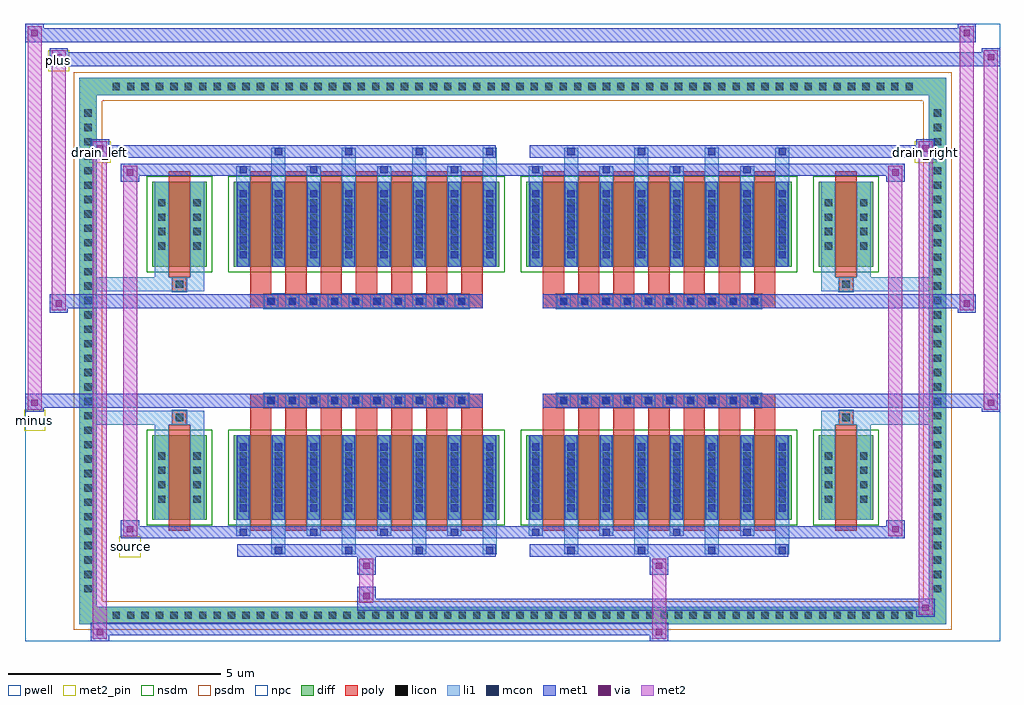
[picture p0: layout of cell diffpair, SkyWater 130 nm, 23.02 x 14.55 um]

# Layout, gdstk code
import gdstk
lib = gdstk.Library(unit=1e-6, precision=5e-09)
def R(c, l, rs):  # rectangles x0, y0, x1, y1
    for r in rs: c.add(gdstk.rectangle(r[:2], r[2:], *l))
def A(c, l, x, y, w, h, nx, ny, dx, dy):  # array of equal rectangles
    R(c, l, [(x+i*dx, y+j*dy, x+i*dx+w, y+j*dy+h) for i in range(nx) for j in range(ny)])
def P(c, l, *ps):  # polygons
    for p in ps: c.add(gdstk.Polygon(p, *l))
pwell = (64, 44)
diff = (65, 20)
poly = (66, 20)
licon = (66, 44)
li1 = (67, 20)
mcon = (67, 44)
met1 = (68, 20)
via = (68, 44)
met2_pin = (69, 16)
met2 = (69, 20)
nsdm = (93, 44)
psdm = (94, 20)
npc = (95, 20)

diffpair = lib.new_cell('diffpair')
R(diffpair, pwell, [(-11.49,-6.84,11.49,7.71), (-8.81,-5.03,-0.01,-0.805), (0.01,-5.03,8.81,-0.805), (-8.81,0.805,-0.01,5.03), (0.01,0.805,8.81,5.03)])
A(diffpair, diff, -9.555, -6.44, 0.41, 0.41, 56, 2, 0.34, 12.47)
A(diffpair, diff, -10.22, -5.815, 0.41, 0.41, 1, 34, 0, 0.34)
A(diffpair, diff, 9.81, -5.815, 0.41, 0.41, 1, 34, 0, 0.34)
R(diffpair, diff, [(-9.555,-6.44,9.555,-6.03), (-10.22,-5.815,-9.81,5.815), (9.81,-5.815,10.22,5.815), (-8.5,-3.985,-7.22,-1.985), (-6.58,-3.985,-0.32,-1.985), (0.32,-3.985,6.58,-1.985), (7.22,-3.985,8.5,-1.985), (-8.5,1.985,-7.22,3.985), (-6.58,1.985,-0.32,3.985), (0.32,1.985,6.58,3.985), (7.22,1.985,8.5,3.985), (-9.555,6.03,9.555,6.44)])
P(diffpair, diff, [(10.22,6.44),(-10.22,6.44),(-10.22,-6.03),(-9.81,-6.03),(-9.81,6.03),(9.81,6.03),(9.81,-6.03),(-9.81,-6.03),(-10.22,-6.03),(-10.22,-6.44),(10.22,-6.44)])
A(diffpair, poly, -6.19, -4.235, 0.5, 2.5, 7, 2, 0.83, 5.97)
A(diffpair, poly, 0.71, -4.235, 0.5, 2.5, 7, 2, 0.83, 5.97)
A(diffpair, poly, -6.19, -1.735, 0.5, 0.4, 7, 2, 0.83, 3.07)
A(diffpair, poly, 0.71, -1.735, 0.5, 0.4, 7, 2, 0.83, 3.07)
A(diffpair, poly, -5.865, -1.335, 0.33, 0.33, 10, 2, 0.5, 2.34)
A(diffpair, poly, 1.035, -1.335, 0.33, 0.33, 10, 2, 0.5, 2.34)
R(diffpair, poly, [(-8.11,-4.235,-7.61,-1.735), (7.61,-4.235,8.11,-1.735), (-8.025,-1.735,-7.695,-1.405), (-8.025,-1.735,-7.695,-1.405), (7.695,-1.735,8.025,-1.405), (7.695,-1.735,8.025,-1.405), (-6.19,-1.335,-0.71,-1.005), (0.71,-1.335,6.19,-1.005), (-6.19,1.005,-0.71,1.335), (0.71,1.005,6.19,1.335), (-8.025,1.405,-7.695,1.735), (-8.025,1.405,-7.695,1.735), (7.695,1.405,8.025,1.735), (7.695,1.405,8.025,1.735), (-8.11,1.735,-7.61,4.235), (7.61,1.735,8.11,4.235)])
A(diffpair, licon, -9.435, -6.32, 0.17, 0.17, 56, 2, 0.34, 12.47)
A(diffpair, licon, -10.1, -5.695, 0.17, 0.17, 1, 34, 0, 0.34)
A(diffpair, licon, 9.93, -5.695, 0.17, 0.17, 1, 34, 0, 0.34)
A(diffpair, licon, -8.36, -3.58, 0.17, 0.17, 1, 4, 0, 0.34)
A(diffpair, licon, -7.53, -3.58, 0.17, 0.17, 1, 4, 0, 0.34)
A(diffpair, licon, -6.44, -3.58, 0.17, 0.17, 8, 4, 0.83, 0.34)
A(diffpair, licon, 0.46, -3.58, 0.17, 0.17, 8, 4, 0.83, 0.34)
A(diffpair, licon, 7.36, -3.58, 0.17, 0.17, 1, 4, 0, 0.34)
A(diffpair, licon, 8.19, -3.58, 0.17, 0.17, 1, 4, 0, 0.34)
A(diffpair, licon, -5.785, -1.255, 0.17, 0.17, 10, 2, 0.5, 2.34)
A(diffpair, licon, 1.115, -1.255, 0.17, 0.17, 10, 2, 0.5, 2.34)
A(diffpair, licon, -8.36, 2.39, 0.17, 0.17, 1, 4, 0, 0.34)
A(diffpair, licon, -7.53, 2.39, 0.17, 0.17, 1, 4, 0, 0.34)
A(diffpair, licon, -6.44, 2.39, 0.17, 0.17, 8, 4, 0.83, 0.34)
A(diffpair, licon, 0.46, 2.39, 0.17, 0.17, 8, 4, 0.83, 0.34)
A(diffpair, licon, 7.36, 2.39, 0.17, 0.17, 1, 4, 0, 0.34)
A(diffpair, licon, 8.19, 2.39, 0.17, 0.17, 1, 4, 0, 0.34)
R(diffpair, licon, [(-7.945,-1.655,-7.775,-1.485), (7.775,-1.655,7.945,-1.485), (-7.945,1.485,-7.775,1.655), (7.775,1.485,7.945,1.655)])
A(diffpair, li1, -9.515, -6.4, 0.33, 0.33, 56, 2, 0.34, 12.47)
A(diffpair, li1, -10.18, -5.775, 0.33, 0.33, 1, 34, 0, 0.34)
A(diffpair, li1, 9.85, -5.775, 0.33, 0.33, 1, 34, 0, 0.34)
A(diffpair, li1, -5.69, -4.79, 0.33, 0.805, 4, 2, 1.66, 8.775)
A(diffpair, li1, -5.61, -4.79, 0.17, 0.17, 4, 2, 1.66, 9.41)
A(diffpair, li1, 1.21, -4.79, 0.33, 0.805, 4, 2, 1.66, 8.775)
A(diffpair, li1, 1.29, -4.79, 0.17, 0.17, 4, 2, 1.66, 9.41)
A(diffpair, li1, -6.52, -4.36, 0.33, 0.375, 4, 2, 1.66, 8.345)
A(diffpair, li1, -6.44, -4.36, 0.17, 0.17, 4, 2, 1.66, 8.55)
A(diffpair, li1, 0.38, -4.36, 0.33, 0.375, 4, 2, 1.66, 8.345)
A(diffpair, li1, 0.46, -4.36, 0.17, 0.17, 4, 2, 1.66, 8.55)
A(diffpair, li1, -6.52, -3.985, 0.33, 2, 8, 2, 0.83, 5.97)
A(diffpair, li1, 0.38, -3.985, 0.33, 2, 8, 2, 0.83, 5.97)
A(diffpair, li1, -6.44, -3.79, 0.17, 0.17, 8, 5, 0.83, 0.36)
A(diffpair, li1, -6.44, -3.79, 0.17, 1.61, 8, 2, 0.83, 5.97)
A(diffpair, li1, 0.46, -3.79, 0.17, 0.17, 8, 5, 0.83, 0.36)
A(diffpair, li1, 0.46, -3.79, 0.17, 1.61, 8, 2, 0.83, 5.97)
A(diffpair, li1, -8.44, -3.66, 0.33, 0.33, 1, 4, 0, 0.34)
A(diffpair, li1, -7.61, -3.66, 0.33, 0.33, 1, 4, 0, 0.34)
A(diffpair, li1, -6.52, -3.66, 0.33, 0.33, 8, 4, 0.83, 0.34)
A(diffpair, li1, 0.38, -3.66, 0.33, 0.33, 8, 4, 0.83, 0.34)
A(diffpair, li1, 7.28, -3.66, 0.33, 0.33, 1, 4, 0, 0.34)
A(diffpair, li1, 8.11, -3.66, 0.33, 0.33, 1, 4, 0, 0.34)
A(diffpair, li1, -5.865, -1.335, 0.33, 0.33, 10, 2, 0.5, 2.34)
A(diffpair, li1, 1.035, -1.335, 0.33, 0.33, 10, 2, 0.5, 2.34)
A(diffpair, li1, -6.44, 2.18, 0.17, 0.17, 8, 5, 0.83, 0.36)
A(diffpair, li1, 0.46, 2.18, 0.17, 0.17, 8, 5, 0.83, 0.36)
A(diffpair, li1, -8.44, 2.31, 0.33, 0.33, 1, 4, 0, 0.34)
A(diffpair, li1, -7.61, 2.31, 0.33, 0.33, 1, 4, 0, 0.34)
A(diffpair, li1, -6.52, 2.31, 0.33, 0.33, 8, 4, 0.83, 0.34)
A(diffpair, li1, 0.38, 2.31, 0.33, 0.33, 8, 4, 0.83, 0.34)
A(diffpair, li1, 7.28, 2.31, 0.33, 0.33, 1, 4, 0, 0.34)
A(diffpair, li1, 8.11, 2.31, 0.33, 0.33, 1, 4, 0, 0.34)
R(diffpair, li1, [(-10.22,-6.44,-9.81,-6.03), (-10.22,-6.44,-9.81,-6.03), (-9.81,-6.44,9.81,-6.03), (9.81,-6.44,10.22,-6.03), (9.81,-6.44,10.22,-6.03), (-10.22,-6.03,-9.81,6.03), (9.81,-6.03,10.22,6.03), (-8.44,-3.985,-8.11,-1.985), (-7.61,-3.985,-7.28,-1.985), (7.28,-3.985,7.61,-1.985), (8.11,-3.985,8.44,-1.985), (-8.44,-1.985,-8.11,-1.405), (-7.61,-1.985,-7.28,-1.405), (7.28,-1.985,7.61,-1.405), (8.11,-1.985,8.44,-1.405), (-10.22,-1.735,-8.025,-1.405), (-8.44,-1.735,-8.025,-1.405), (-8.025,-1.735,-7.695,-1.405), (-7.695,-1.735,-7.28,-1.405), (7.28,-1.735,7.695,-1.405), (7.695,-1.735,8.025,-1.405), (7.695,-1.735,10.22,-1.405), (8.025,-1.735,8.44,-1.405), (-10.22,1.405,-8.025,1.735), (-8.44,1.405,-8.025,1.735), (-8.44,1.405,-8.11,1.985), (-8.025,1.405,-7.695,1.735), (-7.695,1.405,-7.28,1.735), (-7.61,1.405,-7.28,1.985), (7.28,1.405,7.695,1.735), (7.28,1.405,7.61,1.985), (7.695,1.405,8.025,1.735), (7.695,1.405,10.22,1.735), (8.025,1.405,8.44,1.735), (8.11,1.405,8.44,1.985), (-8.44,1.985,-8.11,3.985), (-7.61,1.985,-7.28,3.985), (7.28,1.985,7.61,3.985), (8.11,1.985,8.44,3.985), (-10.22,6.03,-9.81,6.44), (-10.22,6.03,-9.81,6.44), (-9.81,6.03,9.81,6.44), (9.81,6.03,10.22,6.44), (9.81,6.03,10.22,6.44)])
A(diffpair, mcon, -5.61, -4.79, 0.17, 0.17, 4, 2, 1.66, 9.41)
A(diffpair, mcon, 1.29, -4.79, 0.17, 0.17, 4, 2, 1.66, 9.41)
A(diffpair, mcon, -6.44, -4.36, 0.17, 0.17, 4, 2, 1.66, 8.55)
A(diffpair, mcon, 0.46, -4.36, 0.17, 0.17, 4, 2, 1.66, 8.55)
A(diffpair, mcon, -6.44, -3.79, 0.17, 0.17, 8, 5, 0.83, 0.36)
A(diffpair, mcon, 0.46, -3.79, 0.17, 0.17, 8, 5, 0.83, 0.36)
A(diffpair, mcon, -5.785, -1.255, 0.17, 0.17, 10, 2, 0.5, 2.34)
A(diffpair, mcon, 1.115, -1.255, 0.17, 0.17, 10, 2, 0.5, 2.34)
A(diffpair, mcon, -6.44, 2.18, 0.17, 0.17, 8, 5, 0.83, 0.36)
A(diffpair, mcon, 0.46, 2.18, 0.17, 0.17, 8, 5, 0.83, 0.36)
A(diffpair, met1, -5.67, -4.85, 0.29, 0.29, 4, 2, 1.66, 9.41)
A(diffpair, met1, 1.23, -4.85, 0.29, 0.29, 4, 2, 1.66, 9.41)
A(diffpair, met1, -6.5, -4.42, 0.29, 0.29, 4, 2, 1.66, 8.55)
A(diffpair, met1, 0.4, -4.42, 0.29, 0.29, 4, 2, 1.66, 8.55)
A(diffpair, met1, -6.5, -3.985, 0.29, 2, 8, 2, 0.83, 5.97)
A(diffpair, met1, 0.4, -3.985, 0.29, 2, 8, 2, 0.83, 5.97)
A(diffpair, met1, -6.5, -3.85, 0.29, 0.29, 8, 5, 0.83, 0.36)
A(diffpair, met1, 0.4, -3.85, 0.29, 0.29, 8, 5, 0.83, 0.36)
A(diffpair, met1, -5.845, -1.315, 0.29, 0.29, 10, 2, 0.5, 2.34)
A(diffpair, met1, 1.055, -1.315, 0.29, 0.29, 10, 2, 0.5, 2.34)
A(diffpair, met1, -6.5, 2.12, 0.29, 0.29, 8, 5, 0.83, 0.36)
A(diffpair, met1, 0.4, 2.12, 0.29, 0.29, 8, 5, 0.83, 0.36)
R(diffpair, met1, [(-9.95,-6.84,-9.52,-6.41), (3.235,-6.84,3.665,-6.41), (-9.95,-6.7,3.665,-6.41), (9.52,-6.27,9.95,-5.84), (-3.665,-6.13,9.95,-5.84), (-3.665,-5.99,-3.235,-5.56), (-3.665,-5.28,-3.235,-4.85), (3.235,-5.28,3.665,-4.85), (-6.5,-4.85,-0.4,-4.56), (0.4,-4.85,6.5,-4.56), (-9.24,-4.42,-8.81,-3.99), (-9.24,-4.42,-6.5,-4.13), (-6.5,-4.42,-0.4,-4.13), (-0.4,-4.42,0.4,-4.13), (0.4,-4.42,6.5,-4.13), (6.5,-4.42,9.24,-4.13), (8.81,-4.42,9.24,-3.99), (-11.49,-1.435,-11.06,-1.005), (11.06,-1.435,11.49,-1.005), (-11.49,-1.335,-0.71,-1.005), (-6.19,-1.335,-0.71,-1.005), (0.71,-1.335,6.19,-1.005), (0.71,-1.335,11.49,-1.005), (-10.92,0.905,-10.49,1.335), (10.49,0.905,10.92,1.335), (-10.92,1.005,-6.19,1.335), (-6.19,1.005,-0.71,1.335), (0.71,1.005,6.19,1.335), (6.19,1.005,10.92,1.335), (-9.24,3.99,-8.81,4.42), (8.81,3.99,9.24,4.42), (-9.24,4.13,-6.5,4.42), (-6.5,4.13,-0.4,4.42), (-0.4,4.13,0.4,4.42), (0.4,4.13,6.5,4.42), (6.5,4.13,9.24,4.42), (-9.95,4.56,-9.52,4.99), (-9.95,4.56,-6.5,4.85), (-6.5,4.56,-0.4,4.85), (0.4,4.56,6.5,4.85), (6.5,4.56,9.95,4.85), (9.52,4.56,9.95,4.99), (-10.92,6.71,-10.49,7.14), (-10.92,6.71,-8.81,7.04), (-8.81,6.71,8.81,7.04), (8.81,6.71,11.49,7.04), (11.06,6.71,11.49,7.14), (-11.49,7.28,-11.06,7.71), (-11.49,7.28,-8.81,7.61), (-8.81,7.28,8.81,7.61), (8.81,7.28,10.92,7.61), (10.49,7.28,10.92,7.71)])
R(diffpair, via, [(-9.81,-6.7,-9.66,-6.55), (3.375,-6.7,3.525,-6.55), (9.66,-6.13,9.81,-5.98), (-3.525,-5.85,-3.375,-5.7), (-3.525,-5.14,-3.375,-4.99), (3.375,-5.14,3.525,-4.99), (-9.1,-4.28,-8.95,-4.13), (8.95,-4.28,9.1,-4.13), (-11.35,-1.295,-11.2,-1.145), (11.2,-1.295,11.35,-1.145), (-10.78,1.045,-10.63,1.195), (10.63,1.045,10.78,1.195), (-9.1,4.13,-8.95,4.28), (8.95,4.13,9.1,4.28), (-9.81,4.7,-9.66,4.85), (9.66,4.7,9.81,4.85), (-10.78,6.85,-10.63,7), (11.2,6.85,11.35,7), (-11.35,7.42,-11.2,7.57), (10.63,7.42,10.78,7.57)])
R(diffpair, met2_pin, [(-9.275,-4.87,-8.775,-4.37), (-11.525,-1.885,-11.025,-1.385), (-9.985,4.44,-9.485,4.94), (9.485,4.44,9.985,4.94), (-10.955,6.59,-10.455,7.09)])
R(diffpair, met2, [(-9.9,-6.79,-9.57,-6.46), (-9.9,-6.79,-9.57,4.94), (3.285,-6.79,3.615,-6.46), (3.285,-6.46,3.615,-5.23), (9.57,-6.22,9.9,-5.89), (9.57,-6.22,9.9,4.94), (-3.615,-5.94,-3.285,-5.61), (-3.615,-5.61,-3.285,-5.23), (-3.615,-5.23,-3.285,-4.9), (3.285,-5.23,3.615,-4.9), (-9.19,-4.37,-8.86,-4.04), (-9.19,-4.37,-8.86,4.37), (8.86,-4.37,9.19,-4.04), (8.86,-4.37,9.19,4.37), (-11.44,-1.385,-11.11,-1.055), (-11.44,-1.385,-11.11,7.66), (11.11,-1.385,11.44,-1.055), (11.11,-1.385,11.44,7.09), (-10.87,0.955,-10.54,1.285), (-10.87,0.955,-10.54,7.09), (10.54,0.955,10.87,1.285), (10.54,0.955,10.87,7.66), (-9.19,4.04,-8.86,4.37), (8.86,4.04,9.19,4.37), (-9.9,4.61,-9.57,4.94), (9.57,4.61,9.9,4.94), (-10.87,6.76,-10.54,7.09), (11.11,6.76,11.44,7.09), (-11.44,7.33,-11.11,7.66), (10.54,7.33,10.87,7.66)])
P(diffpair, met2, [(11.44,-1.385),(11.44,-1.385),(11.44,-1.055),(11.44,-1.055)],
  [(11.44,6.76),(11.44,6.76),(11.44,7.09),(11.44,7.09)],
  [(-11.11,-1.385),(-11.11,-1.385),(-11.11,-1.055),(-11.11,-1.055)],
  [(-11.11,7.33),(-11.11,7.33),(-11.11,7.66),(-11.11,7.66)],
  [(10.87,0.955),(10.87,0.955),(10.87,1.285),(10.87,1.285)],
  [(10.87,7.33),(10.87,7.33),(10.87,7.66),(10.87,7.66)],
  [(-10.54,0.955),(-10.54,0.955),(-10.54,1.285),(-10.54,1.285)],
  [(-10.54,6.76),(-10.54,6.76),(-10.54,7.09),(-10.54,7.09)],
  [(-9.57,-6.79),(-9.57,-6.79),(-9.57,-6.46),(-9.57,-6.46)],
  [(-9.57,4.61),(-9.57,4.61),(-9.57,4.94),(-9.57,4.94)],
  [(9.9,-6.22),(9.9,-6.22),(9.9,-5.89),(9.9,-5.89)],
  [(9.9,4.61),(9.9,4.61),(9.9,4.94),(9.9,4.94)],
  [(-8.86,-4.37),(-8.86,-4.37),(-8.86,-4.04),(-8.86,-4.04)],
  [(-8.86,4.04),(-8.86,4.04),(-8.86,4.37),(-8.86,4.37)],
  [(9.19,-4.37),(9.19,-4.37),(9.19,-4.04),(9.19,-4.04)],
  [(9.19,4.04),(9.19,4.04),(9.19,4.37),(9.19,4.37)])
R(diffpair, nsdm, [(-8.63,-4.115,-7.09,-1.855), (-6.71,-4.115,-0.19,-1.855), (0.19,-4.115,6.71,-1.855), (7.09,-4.115,8.63,-1.855), (-8.63,1.855,-7.09,4.115), (-6.71,1.855,-0.19,4.115), (0.19,1.855,6.71,4.115), (7.09,1.855,8.63,4.115)])
P(diffpair, psdm, [(10.35,6.57),(-10.35,6.57),(-10.35,-5.9),(-9.68,-5.9),(-9.68,5.9),(9.68,5.9),(9.68,-5.9),(-9.68,-5.9),(-10.35,-5.9),(-10.35,-6.57),(10.35,-6.57)])
A(diffpair, npc, -5.885, -1.355, 0.37, 0.37, 10, 2, 0.5, 2.34)
A(diffpair, npc, 1.015, -1.355, 0.37, 0.37, 10, 2, 0.5, 2.34)
R(diffpair, npc, [(-8.045,-1.755,-7.675,-1.385), (7.675,-1.755,8.045,-1.385), (-5.885,-1.355,-5.015,-0.985), (-5.885,-1.355,-5.015,-0.985), (-5.385,-1.355,-4.515,-0.985), (-5.385,-1.355,-4.515,-0.985), (-4.885,-1.355,-4.015,-0.985), (-4.885,-1.355,-4.015,-0.985), (-4.385,-1.355,-3.515,-0.985), (-4.385,-1.355,-3.515,-0.985), (-3.885,-1.355,-3.015,-0.985), (-3.885,-1.355,-3.015,-0.985), (-3.385,-1.355,-2.515,-0.985), (-3.385,-1.355,-2.515,-0.985), (-2.885,-1.355,-2.015,-0.985), (-2.885,-1.355,-2.015,-0.985), (-2.385,-1.355,-1.515,-0.985), (-2.385,-1.355,-1.515,-0.985), (-1.885,-1.355,-1.015,-0.985), (-1.885,-1.355,-1.015,-0.985), (1.015,-1.355,1.885,-0.985), (1.015,-1.355,1.885,-0.985), (1.515,-1.355,2.385,-0.985), (1.515,-1.355,2.385,-0.985), (2.015,-1.355,2.885,-0.985), (2.015,-1.355,2.885,-0.985), (2.515,-1.355,3.385,-0.985), (2.515,-1.355,3.385,-0.985), (3.015,-1.355,3.885,-0.985), (3.015,-1.355,3.885,-0.985), (3.515,-1.355,4.385,-0.985), (3.515,-1.355,4.385,-0.985), (4.015,-1.355,4.885,-0.985), (4.015,-1.355,4.885,-0.985), (4.515,-1.355,5.385,-0.985), (4.515,-1.355,5.385,-0.985), (5.015,-1.355,5.885,-0.985), (5.015,-1.355,5.885,-0.985), (-5.885,0.985,-5.015,1.355), (-5.885,0.985,-5.015,1.355), (-5.385,0.985,-4.515,1.355), (-5.385,0.985,-4.515,1.355), (-4.885,0.985,-4.015,1.355), (-4.885,0.985,-4.015,1.355), (-4.385,0.985,-3.515,1.355), (-4.385,0.985,-3.515,1.355), (-3.885,0.985,-3.015,1.355), (-3.885,0.985,-3.015,1.355), (-3.385,0.985,-2.515,1.355), (-3.385,0.985,-2.515,1.355), (-2.885,0.985,-2.015,1.355), (-2.885,0.985,-2.015,1.355), (-2.385,0.985,-1.515,1.355), (-2.385,0.985,-1.515,1.355), (-1.885,0.985,-1.015,1.355), (-1.885,0.985,-1.015,1.355), (1.015,0.985,1.885,1.355), (1.015,0.985,1.885,1.355), (1.515,0.985,2.385,1.355), (1.515,0.985,2.385,1.355), (2.015,0.985,2.885,1.355), (2.015,0.985,2.885,1.355), (2.515,0.985,3.385,1.355), (2.515,0.985,3.385,1.355), (3.015,0.985,3.885,1.355), (3.015,0.985,3.885,1.355), (3.515,0.985,4.385,1.355), (3.515,0.985,4.385,1.355), (4.015,0.985,4.885,1.355), (4.015,0.985,4.885,1.355), (4.515,0.985,5.385,1.355), (4.515,0.985,5.385,1.355), (5.015,0.985,5.885,1.355), (5.015,0.985,5.885,1.355), (-8.045,1.385,-7.675,1.755), (7.675,1.385,8.045,1.755)])
diffpair.add(gdstk.Label('minus', (-11.275,-1.635), layer=69, texttype=5))
diffpair.add(gdstk.Label('drain_right', (9.735,4.69), layer=69, texttype=5))
diffpair.add(gdstk.Label('drain_left', (-9.735,4.69), layer=69, texttype=5))
diffpair.add(gdstk.Label('source', (-9.025,-4.62), layer=69, texttype=5))
diffpair.add(gdstk.Label('plus', (-10.705,6.84), layer=69, texttype=5))

lib.write_gds('diffpair.gds')
